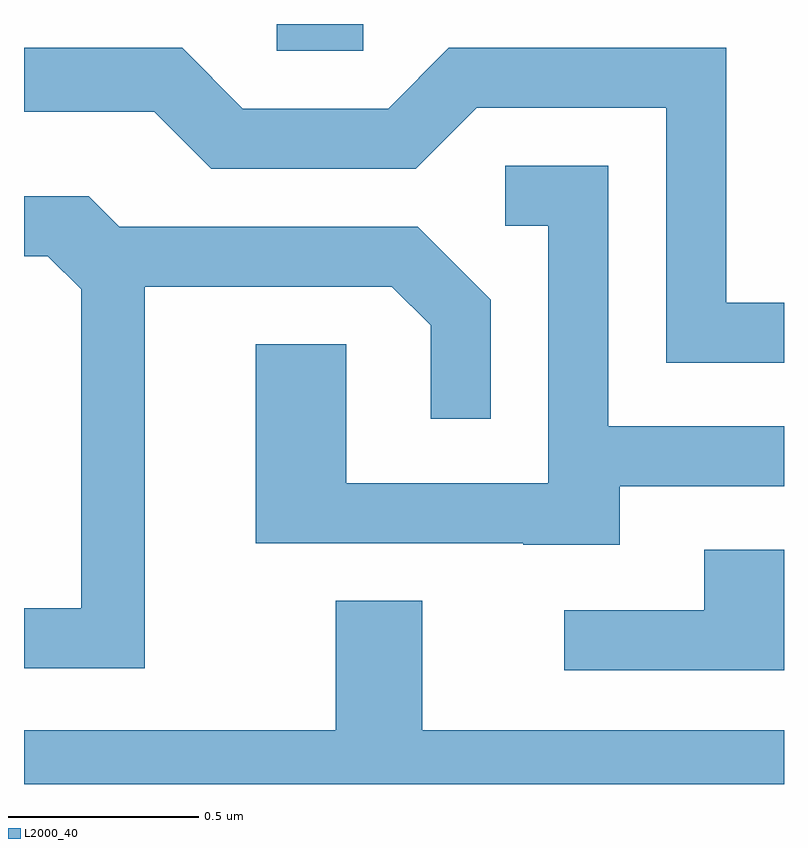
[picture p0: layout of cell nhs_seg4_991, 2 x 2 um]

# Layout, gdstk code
import gdstk
lib = gdstk.Library(unit=1e-6, precision=1e-09)
def R(c, l, rs):  # rectangles x0, y0, x1, y1
    for r in rs: c.add(gdstk.rectangle(r[:2], r[2:], *l))
def P(c, l, *ps):  # polygons
    for p in ps: c.add(gdstk.Polygon(p, *l))
L2000_40 = (2000, 40)

nhs_seg4_991 = lib.new_cell('nhs_seg4_991')
R(nhs_seg4_991, L2000_40, [(193.276,1287.911,193.504,1287.982)])
P(nhs_seg4_991, L2000_40, [(194.611,1287.249),(194.459,1287.249),(194.459,1287.919),(193.729,1287.919),(193.569,1287.759),(193.187,1287.759),(193.027,1287.919),(192.611,1287.919),(192.611,1287.751),(192.954,1287.751),(193.104,1287.601),(193.642,1287.601),(193.802,1287.761),(194.301,1287.761),(194.301,1287.091),(194.611,1287.091)],
  [(194.179,1286.766),(194.611,1286.766),(194.611,1286.924),(194.149,1286.924),(194.149,1287.609),(193.878,1287.609),(193.878,1287.451),(193.991,1287.451),(193.991,1286.774),(193.459,1286.774),(193.459,1287.139),(193.221,1287.139),(193.221,1286.616),(193.925,1286.616),(193.925,1286.611),(194.179,1286.611)],
  [(192.929,1287.291),(193.579,1287.291),(193.681,1287.189),(193.681,1286.943),(193.839,1286.943),(193.839,1287.257),(193.647,1287.449),(192.862,1287.449),(192.782,1287.529),(192.611,1287.529),(192.611,1287.371),(192.674,1287.371),(192.761,1287.284),(192.761,1286.444),(192.611,1286.444),(192.611,1286.286),(192.929,1286.286)],
  [(194.611,1286.599),(194.401,1286.599),(194.401,1286.439),(194.033,1286.439),(194.033,1286.281),(194.611,1286.281)],
  [(194.611,1286.124),(193.659,1286.124),(193.659,1286.464),(193.431,1286.464),(193.431,1286.124),(192.611,1286.124),(192.611,1285.982),(194.611,1285.982)])

lib.write_gds('nhs_seg4_991.gds')
